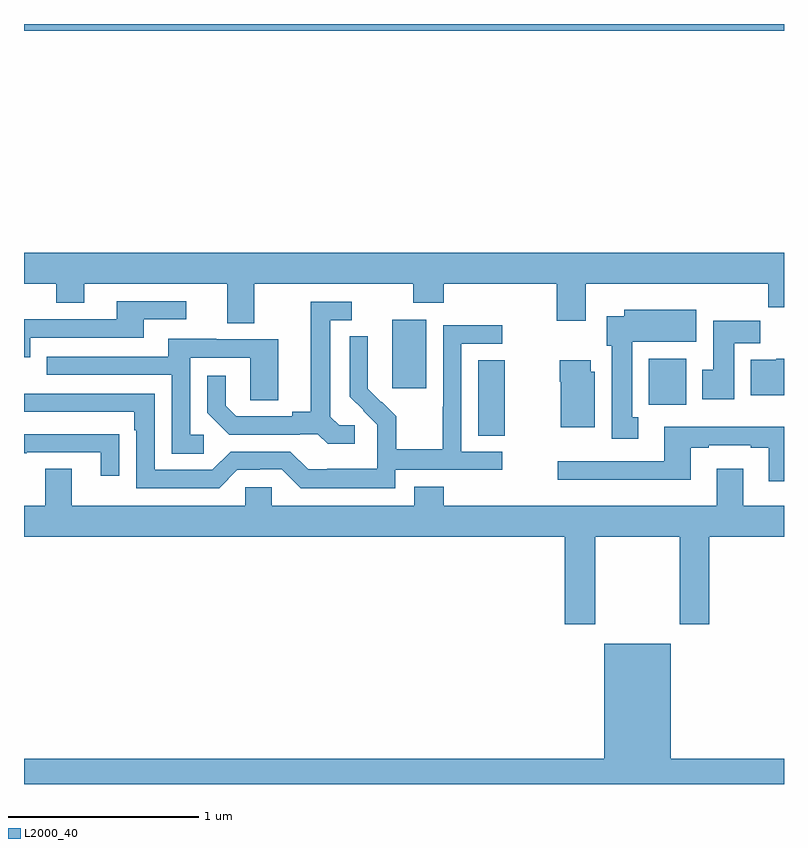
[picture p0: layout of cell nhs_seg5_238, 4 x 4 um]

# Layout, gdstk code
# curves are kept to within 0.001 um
import gdstk
lib = gdstk.Library(unit=1e-6, precision=1e-09)
def R(c, l, rs):  # rectangles x0, y0, x1, y1
    for r in rs: c.add(gdstk.rectangle(r[:2], r[2:], *l))
def P(c, l, *ps):  # polygons
    for p in ps: c.add(gdstk.Polygon(p, *l))
L2000_40 = (2000, 40)

nhs_seg5_238 = lib.new_cell('nhs_seg5_238')
R(nhs_seg5_238, L2000_40, [(127.391,850.633,127.53,851.03), (128.288,850.796,128.485,851.038), (126.938,850.881,127.117,851.242), (125,852.764,129,852.799)])
P(nhs_seg5_238, L2000_40, [(126.211,851.432),(127.048,851.432),(127.048,851.333),(127.208,851.333),(127.208,851.432),(127.805,851.432),(127.805,851.238),(127.957,851.238),(127.957,851.432),(128.917,851.432),(128.917,851.308),(129,851.308),(129,851.596),(125,851.596),(125,851.432),(125.17,851.432),(125.17,851.333),(125.317,851.333),(125.317,851.432),(126.071,851.432),(126.071,851.224),(126.211,851.224)],
  [(125.034,851.148),(125.629,851.148),(125.629,851.244),(125.854,851.244),(125.854,851.34),(125.489,851.34),(125.489,851.244),(125,851.244),(125,851.045),(125.034,851.045)],
  [(126.742,850.686),(126.66,850.686),(126.613,850.733),(126.613,851.241),(126.724,851.241),(126.724,851.337),(126.509,851.337),(126.509,850.757),(126.413,850.757),(126.413,850.734),(126.118,850.734),(126.061,850.791),(126.061,850.948),(125.964,850.948),(125.964,850.754),(126.08,850.638),(126.452,850.638),(126.452,850.641),(126.546,850.641),(126.598,850.589),(126.742,850.589)],
  [(128.233,850.73),(128.2,850.73),(128.2,851.126),(128.539,851.126),(128.539,851.296),(128.159,851.296),(128.159,851.26),(128.066,851.26),(128.066,851.106),(128.093,851.106),(128.093,850.617),(128.233,850.617)],
  [(128.737,851.12),(128.876,851.12),(128.876,851.238),(128.627,851.238),(128.627,850.98),(128.57,850.98),(128.57,850.824),(128.737,850.824)],
  [(126.954,850.452),(127.516,850.452),(127.516,850.548),(127.302,850.548),(127.302,851.115),(127.516,851.115),(127.516,851.214),(127.206,851.214),(127.206,850.784),(127.204,850.784),(127.204,850.561),(126.959,850.561),(126.959,850.735),(126.882,850.812),(126.879,850.809),(126.809,850.88),(126.81,851.156),(126.714,851.156),(126.714,850.838),(126.86,850.69),(126.86,850.593),(126.858,850.593),(126.858,850.459),(126.595,850.459),(126.595,850.455),(126.495,850.455),(126.402,850.548),(126.087,850.548),(125.991,850.452),(125.688,850.452),(125.688,850.854),(125,850.854),(125,850.758),(125.579,850.758),(125.579,850.661),(125.592,850.661),(125.592,850.356),(126.027,850.356),(126.123,850.452),(126.242,850.452),(126.242,850.455),(126.357,850.455),(126.457,850.355),(126.954,850.355)],
  [(125.947,850.638),(125.874,850.638),(125.874,851.043),(126.192,851.043),(126.192,850.819),(126.337,850.819),(126.337,851.139),(126.013,851.139),(126.013,851.143),(125.759,851.143),(125.759,851.049),(125.119,851.049),(125.119,850.953),(125.778,850.953),(125.778,850.537),(125.947,850.537)],
  [(129,851.038),(128.958,851.038),(128.958,851.032),(128.825,851.032),(128.825,850.844),(129,850.844)],
  [(128.005,850.968),(127.984,850.968),(127.984,851.029),(127.819,851.029),(127.819,850.916),(127.826,850.916),(127.826,850.676),(128.005,850.676)],
  [(129,850.678),(128.369,850.678),(128.369,850.497),(127.809,850.497),(127.809,850.4),(128.509,850.4),(128.509,850.569),(128.605,850.569),(128.605,850.581),(128.825,850.581),(128.825,850.569),(128.921,850.569),(128.921,850.392),(129,850.392)],
  [(125.501,850.64),(125.399,850.64),(125.399,850.641),(125,850.641),(125,850.54),(125.015,850.54),(125.015,850.545),(125.405,850.545),(125.405,850.422),(125.501,850.422)],
  [(127.055,850.363),(127.055,850.264),(126.303,850.264),(126.303,850.362),(126.165,850.362),(126.165,850.264),(125.251,850.264),(125.251,850.459),(125.111,850.459),(125.111,850.264),(125,850.264),(125,850.1),(127.847,850.1),(127.847,849.639),(128.007,849.639),(128.007,850.1),(128.452,850.1),(128.452,849.639),(128.607,849.639),(128.607,850.1),(129,850.1),(129,850.264),(128.785,850.264),(128.785,850.459),(128.645,850.459),(128.645,850.264),(127.208,850.264),(127.208,850.363)],
  [(129,848.932),(128.404,848.932),(128.404,849.538),(128.054,849.538),(128.054,848.932),(125,848.932),(125,848.799),(129,848.799)])

lib.write_gds('nhs_seg5_238.gds')
